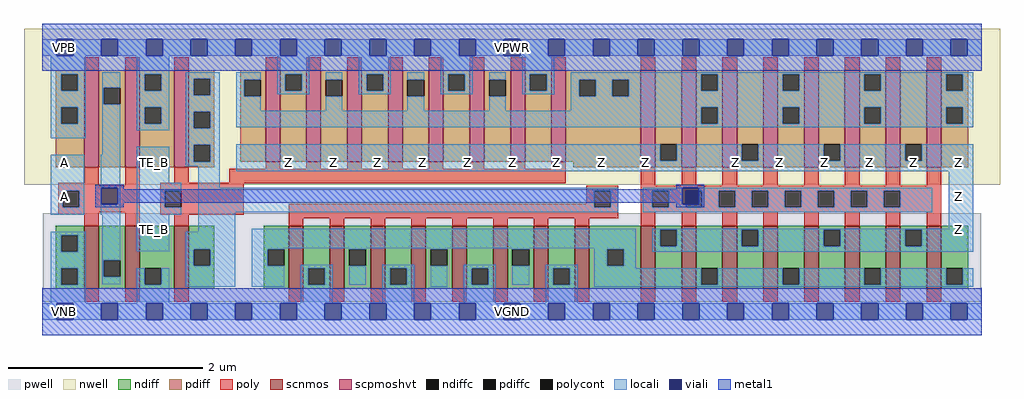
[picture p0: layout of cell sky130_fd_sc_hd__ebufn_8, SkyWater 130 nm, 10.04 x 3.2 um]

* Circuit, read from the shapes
.subckt sky130_fd_sc_hd__ebufn_8 A TE_B VGND VNB VPB VPWR Z
XM1 n1 A VGND VNB sky130_fd_pr__nfet_01v8 w=0.65 l=0.15 m=2
XM2 n2 TE_B VGND VNB sky130_fd_pr__nfet_01v8 w=0.65 l=0.15
XM3 VGND n2 n3 VNB sky130_fd_pr__nfet_01v8 w=0.65 l=0.15 m=8
XM4 Z n1 n3 VNB sky130_fd_pr__nfet_01v8 w=0.65 l=0.15 m=8
XM5 n1 A VPWR VPB sky130_fd_pr__pfet_01v8_hvt w=1 l=0.15 m=2
XM6 n2 TE_B VPWR VPB sky130_fd_pr__pfet_01v8_hvt w=1 l=0.15
XM7 VPWR TE_B n4 VPB sky130_fd_pr__pfet_01v8_hvt w=0.94 l=0.15 m=8
XM8 Z n1 n4 VPB sky130_fd_pr__pfet_01v8_hvt w=1 l=0.15 m=8
.ends

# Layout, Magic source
magic
tech sky130B
magscale 1 2
<< nwell >>
rect -38 261 1970 582
<< pwell >>
rect 1 21 1931 203
rect 29 -17 63 21
<< scnmos >>
rect 86 47 116 177
rect 170 47 200 177
rect 271 47 301 177
rect 507 47 537 177
rect 591 47 621 177
rect 675 47 705 177
rect 759 47 789 177
rect 843 47 873 177
rect 927 47 957 177
rect 1011 47 1041 177
rect 1095 47 1125 177
rect 1231 47 1261 177
rect 1315 47 1345 177
rect 1399 47 1429 177
rect 1483 47 1513 177
rect 1567 47 1597 177
rect 1651 47 1681 177
rect 1735 47 1765 177
rect 1819 47 1849 177
<< scpmoshvt >>
rect 86 297 116 497
rect 170 297 200 497
rect 271 297 301 497
rect 459 309 489 497
rect 543 309 573 497
rect 627 309 657 497
rect 711 309 741 497
rect 795 309 825 497
rect 879 309 909 497
rect 963 309 993 497
rect 1047 309 1077 497
rect 1231 297 1261 497
rect 1315 297 1345 497
rect 1399 297 1429 497
rect 1483 297 1513 497
rect 1567 297 1597 497
rect 1651 297 1681 497
rect 1735 297 1765 497
rect 1819 297 1849 497
<< ndiff >>
rect 27 157 86 177
rect 27 123 39 157
rect 73 123 86 157
rect 27 89 86 123
rect 27 55 39 89
rect 73 55 86 89
rect 27 47 86 55
rect 116 106 170 177
rect 116 72 126 106
rect 160 72 170 106
rect 116 47 170 72
rect 200 89 271 177
rect 200 55 210 89
rect 244 55 271 89
rect 200 47 271 55
rect 301 129 353 177
rect 301 95 311 129
rect 345 95 353 129
rect 301 47 353 95
rect 455 129 507 177
rect 455 95 463 129
rect 497 95 507 129
rect 455 47 507 95
rect 537 89 591 177
rect 537 55 547 89
rect 581 55 591 89
rect 537 47 591 55
rect 621 129 675 177
rect 621 95 631 129
rect 665 95 675 129
rect 621 47 675 95
rect 705 89 759 177
rect 705 55 715 89
rect 749 55 759 89
rect 705 47 759 55
rect 789 129 843 177
rect 789 95 799 129
rect 833 95 843 129
rect 789 47 843 95
rect 873 89 927 177
rect 873 55 883 89
rect 917 55 927 89
rect 873 47 927 55
rect 957 129 1011 177
rect 957 95 967 129
rect 1001 95 1011 129
rect 957 47 1011 95
rect 1041 89 1095 177
rect 1041 55 1051 89
rect 1085 55 1095 89
rect 1041 47 1095 55
rect 1125 129 1231 177
rect 1125 95 1162 129
rect 1196 95 1231 129
rect 1125 47 1231 95
rect 1261 169 1315 177
rect 1261 135 1271 169
rect 1305 135 1315 169
rect 1261 47 1315 135
rect 1345 89 1399 177
rect 1345 55 1355 89
rect 1389 55 1399 89
rect 1345 47 1399 55
rect 1429 169 1483 177
rect 1429 135 1439 169
rect 1473 135 1483 169
rect 1429 47 1483 135
rect 1513 89 1567 177
rect 1513 55 1523 89
rect 1557 55 1567 89
rect 1513 47 1567 55
rect 1597 169 1651 177
rect 1597 135 1607 169
rect 1641 135 1651 169
rect 1597 47 1651 135
rect 1681 89 1735 177
rect 1681 55 1691 89
rect 1725 55 1735 89
rect 1681 47 1735 55
rect 1765 169 1819 177
rect 1765 135 1775 169
rect 1809 135 1819 169
rect 1765 47 1819 135
rect 1849 89 1905 177
rect 1849 55 1859 89
rect 1893 55 1905 89
rect 1849 47 1905 55
<< pdiff >>
rect 27 489 86 497
rect 27 455 39 489
rect 73 455 86 489
rect 27 421 86 455
rect 27 387 39 421
rect 73 387 86 421
rect 27 297 86 387
rect 116 461 170 497
rect 116 427 126 461
rect 160 427 170 461
rect 116 297 170 427
rect 200 489 271 497
rect 200 455 210 489
rect 244 455 271 489
rect 200 421 271 455
rect 200 387 210 421
rect 244 387 271 421
rect 200 297 271 387
rect 301 479 353 497
rect 301 445 311 479
rect 345 445 353 479
rect 301 411 353 445
rect 301 377 311 411
rect 345 377 353 411
rect 301 343 353 377
rect 301 309 311 343
rect 345 309 353 343
rect 407 477 459 497
rect 407 443 415 477
rect 449 443 459 477
rect 407 309 459 443
rect 489 489 543 497
rect 489 455 499 489
rect 533 455 543 489
rect 489 309 543 455
rect 573 477 627 497
rect 573 443 583 477
rect 617 443 627 477
rect 573 309 627 443
rect 657 489 711 497
rect 657 455 667 489
rect 701 455 711 489
rect 657 309 711 455
rect 741 477 795 497
rect 741 443 751 477
rect 785 443 795 477
rect 741 309 795 443
rect 825 489 879 497
rect 825 455 835 489
rect 869 455 879 489
rect 825 309 879 455
rect 909 477 963 497
rect 909 443 919 477
rect 953 443 963 477
rect 909 309 963 443
rect 993 489 1047 497
rect 993 455 1003 489
rect 1037 455 1047 489
rect 993 309 1047 455
rect 1077 477 1231 497
rect 1077 443 1104 477
rect 1138 443 1172 477
rect 1206 443 1231 477
rect 1077 309 1231 443
rect 301 297 353 309
rect 1092 297 1231 309
rect 1261 345 1315 497
rect 1261 311 1271 345
rect 1305 311 1315 345
rect 1261 297 1315 311
rect 1345 489 1399 497
rect 1345 455 1355 489
rect 1389 455 1399 489
rect 1345 421 1399 455
rect 1345 387 1355 421
rect 1389 387 1399 421
rect 1345 297 1399 387
rect 1429 345 1483 497
rect 1429 311 1439 345
rect 1473 311 1483 345
rect 1429 297 1483 311
rect 1513 489 1567 497
rect 1513 455 1523 489
rect 1557 455 1567 489
rect 1513 421 1567 455
rect 1513 387 1523 421
rect 1557 387 1567 421
rect 1513 297 1567 387
rect 1597 345 1651 497
rect 1597 311 1607 345
rect 1641 311 1651 345
rect 1597 297 1651 311
rect 1681 489 1735 497
rect 1681 455 1691 489
rect 1725 455 1735 489
rect 1681 421 1735 455
rect 1681 387 1691 421
rect 1725 387 1735 421
rect 1681 297 1735 387
rect 1765 345 1819 497
rect 1765 311 1775 345
rect 1809 311 1819 345
rect 1765 297 1819 311
rect 1849 489 1905 497
rect 1849 455 1859 489
rect 1893 455 1905 489
rect 1849 421 1905 455
rect 1849 387 1859 421
rect 1893 387 1905 421
rect 1849 297 1905 387
<< ndiffc >>
rect 39 123 73 157
rect 39 55 73 89
rect 126 72 160 106
rect 210 55 244 89
rect 311 95 345 129
rect 463 95 497 129
rect 547 55 581 89
rect 631 95 665 129
rect 715 55 749 89
rect 799 95 833 129
rect 883 55 917 89
rect 967 95 1001 129
rect 1051 55 1085 89
rect 1162 95 1196 129
rect 1271 135 1305 169
rect 1355 55 1389 89
rect 1439 135 1473 169
rect 1523 55 1557 89
rect 1607 135 1641 169
rect 1691 55 1725 89
rect 1775 135 1809 169
rect 1859 55 1893 89
<< pdiffc >>
rect 39 455 73 489
rect 39 387 73 421
rect 126 427 160 461
rect 210 455 244 489
rect 210 387 244 421
rect 311 445 345 479
rect 311 377 345 411
rect 311 309 345 343
rect 415 443 449 477
rect 499 455 533 489
rect 583 443 617 477
rect 667 455 701 489
rect 751 443 785 477
rect 835 455 869 489
rect 919 443 953 477
rect 1003 455 1037 489
rect 1104 443 1138 477
rect 1172 443 1206 477
rect 1271 311 1305 345
rect 1355 455 1389 489
rect 1355 387 1389 421
rect 1439 311 1473 345
rect 1523 455 1557 489
rect 1523 387 1557 421
rect 1607 311 1641 345
rect 1691 455 1725 489
rect 1691 387 1725 421
rect 1775 311 1809 345
rect 1859 455 1893 489
rect 1859 387 1893 421
<< poly >>
rect 86 497 116 523
rect 170 497 200 523
rect 271 497 301 523
rect 459 497 489 523
rect 543 497 573 523
rect 627 497 657 523
rect 711 497 741 523
rect 795 497 825 523
rect 879 497 909 523
rect 963 497 993 523
rect 1047 497 1077 523
rect 1231 497 1261 523
rect 1315 497 1345 523
rect 1399 497 1429 523
rect 1483 497 1513 523
rect 1567 497 1597 523
rect 1651 497 1681 523
rect 1735 497 1765 523
rect 1819 497 1849 523
rect 86 265 116 297
rect 32 259 116 265
rect 170 259 200 297
rect 271 265 301 297
rect 459 294 489 309
rect 543 294 573 309
rect 627 294 657 309
rect 711 294 741 309
rect 795 294 825 309
rect 879 294 909 309
rect 963 294 993 309
rect 1047 294 1077 309
rect 384 265 1077 294
rect 32 249 200 259
rect 32 215 42 249
rect 76 215 200 249
rect 32 205 200 215
rect 32 199 116 205
rect 86 177 116 199
rect 170 177 200 205
rect 242 264 1077 265
rect 242 249 414 264
rect 1231 259 1261 297
rect 1315 259 1345 297
rect 1399 259 1429 297
rect 1483 259 1513 297
rect 1567 259 1597 297
rect 1651 259 1681 297
rect 1735 259 1765 297
rect 1819 259 1849 297
rect 242 215 252 249
rect 286 215 414 249
rect 1119 249 1185 259
rect 1119 222 1135 249
rect 242 199 414 215
rect 507 215 1135 222
rect 1169 215 1185 249
rect 271 177 301 199
rect 507 192 1185 215
rect 1231 249 1849 259
rect 1231 215 1255 249
rect 1289 215 1323 249
rect 1357 215 1391 249
rect 1425 215 1459 249
rect 1493 215 1527 249
rect 1561 215 1595 249
rect 1629 215 1663 249
rect 1697 215 1731 249
rect 1765 215 1849 249
rect 1231 205 1849 215
rect 507 177 537 192
rect 591 177 621 192
rect 675 177 705 192
rect 759 177 789 192
rect 843 177 873 192
rect 927 177 957 192
rect 1011 177 1041 192
rect 1095 177 1125 192
rect 1231 177 1261 205
rect 1315 177 1345 205
rect 1399 177 1429 205
rect 1483 177 1513 205
rect 1567 177 1597 205
rect 1651 177 1681 205
rect 1735 177 1765 205
rect 1819 177 1849 205
rect 86 21 116 47
rect 170 21 200 47
rect 271 21 301 47
rect 507 21 537 47
rect 591 21 621 47
rect 675 21 705 47
rect 759 21 789 47
rect 843 21 873 47
rect 927 21 957 47
rect 1011 21 1041 47
rect 1095 21 1125 47
rect 1231 21 1261 47
rect 1315 21 1345 47
rect 1399 21 1429 47
rect 1483 21 1513 47
rect 1567 21 1597 47
rect 1651 21 1681 47
rect 1735 21 1765 47
rect 1819 21 1849 47
<< polycont >>
rect 42 215 76 249
rect 252 215 286 249
rect 1135 215 1169 249
rect 1255 215 1289 249
rect 1323 215 1357 249
rect 1391 215 1425 249
rect 1459 215 1493 249
rect 1527 215 1561 249
rect 1595 215 1629 249
rect 1663 215 1697 249
rect 1731 215 1765 249
<< locali >>
rect 0 527 29 561
rect 63 527 121 561
rect 155 527 213 561
rect 247 527 305 561
rect 339 527 397 561
rect 431 527 489 561
rect 523 527 581 561
rect 615 527 673 561
rect 707 527 765 561
rect 799 527 857 561
rect 891 527 949 561
rect 983 527 1041 561
rect 1075 527 1133 561
rect 1167 527 1225 561
rect 1259 527 1317 561
rect 1351 527 1409 561
rect 1443 527 1501 561
rect 1535 527 1593 561
rect 1627 527 1685 561
rect 1719 527 1777 561
rect 1811 527 1869 561
rect 1903 527 1932 561
rect 17 489 89 527
rect 17 455 39 489
rect 73 455 89 489
rect 17 421 89 455
rect 17 387 39 421
rect 73 387 89 421
rect 17 357 89 387
rect 123 461 160 493
rect 123 427 126 461
rect 123 323 160 427
rect 194 489 261 527
rect 194 455 210 489
rect 244 455 261 489
rect 194 421 261 455
rect 194 387 210 421
rect 244 387 261 421
rect 194 373 261 387
rect 295 479 365 493
rect 295 445 311 479
rect 345 445 365 479
rect 295 411 365 445
rect 295 377 311 411
rect 345 377 365 411
rect 399 477 449 493
rect 399 443 415 477
rect 483 489 549 527
rect 483 455 499 489
rect 533 455 549 489
rect 483 447 549 455
rect 583 477 617 493
rect 399 413 449 443
rect 651 489 717 527
rect 651 455 667 489
rect 701 455 717 489
rect 651 447 717 455
rect 751 477 785 493
rect 583 413 617 443
rect 819 489 885 527
rect 819 455 835 489
rect 869 455 885 489
rect 819 447 885 455
rect 919 477 953 493
rect 751 413 785 443
rect 987 489 1053 527
rect 987 455 1003 489
rect 1037 455 1053 489
rect 987 447 1053 455
rect 1087 489 1915 493
rect 1087 477 1355 489
rect 919 413 953 443
rect 1087 443 1104 477
rect 1138 443 1172 477
rect 1206 455 1355 477
rect 1389 455 1523 489
rect 1557 455 1691 489
rect 1725 455 1859 489
rect 1893 455 1915 489
rect 1206 443 1915 455
rect 1087 421 1915 443
rect 1087 413 1355 421
rect 399 387 1355 413
rect 1389 387 1523 421
rect 1557 387 1691 421
rect 1725 387 1859 421
rect 1893 387 1915 421
rect 399 379 1915 387
rect 295 343 365 377
rect 17 249 86 323
rect 17 215 42 249
rect 76 215 86 249
rect 17 199 86 215
rect 120 255 160 323
rect 120 221 121 255
rect 155 221 160 255
rect 120 199 160 221
rect 17 157 89 165
rect 17 123 39 157
rect 73 123 89 157
rect 17 89 89 123
rect 17 55 39 89
rect 73 55 89 89
rect 123 106 160 199
rect 194 265 261 339
rect 295 309 311 343
rect 345 309 365 343
rect 295 299 365 309
rect 194 249 286 265
rect 194 215 252 249
rect 194 199 286 215
rect 320 255 365 299
rect 399 311 1271 345
rect 1305 311 1439 345
rect 1473 311 1607 345
rect 1641 311 1775 345
rect 1809 311 1915 345
rect 399 289 1915 311
rect 320 249 1185 255
rect 320 215 1135 249
rect 1169 215 1185 249
rect 320 205 1185 215
rect 1235 249 1316 255
rect 1350 249 1831 255
rect 1235 215 1255 249
rect 1289 221 1316 249
rect 1289 215 1323 221
rect 1357 215 1391 249
rect 1425 215 1459 249
rect 1493 215 1527 249
rect 1561 215 1595 249
rect 1629 215 1663 249
rect 1697 215 1731 249
rect 1765 215 1831 249
rect 1235 205 1831 215
rect 194 124 261 199
rect 320 165 397 205
rect 1865 171 1915 289
rect 295 129 397 165
rect 123 72 126 106
rect 295 95 311 129
rect 345 95 397 129
rect 123 56 160 72
rect 17 17 89 55
rect 194 55 210 89
rect 244 55 261 89
rect 194 17 261 55
rect 295 51 397 95
rect 431 131 1221 171
rect 431 129 497 131
rect 431 95 463 129
rect 631 129 665 131
rect 431 51 497 95
rect 531 89 597 97
rect 531 55 547 89
rect 581 55 597 89
rect 799 129 833 131
rect 631 55 665 95
rect 699 89 765 97
rect 699 55 715 89
rect 749 55 765 89
rect 531 17 597 55
rect 699 17 765 55
rect 967 129 1001 131
rect 799 51 833 95
rect 867 89 933 97
rect 867 55 883 89
rect 917 55 933 89
rect 1135 129 1221 131
rect 967 55 1001 95
rect 1035 89 1101 97
rect 1035 55 1051 89
rect 1085 55 1101 89
rect 867 17 933 55
rect 1035 17 1101 55
rect 1135 95 1162 129
rect 1196 95 1221 129
rect 1255 169 1915 171
rect 1255 135 1271 169
rect 1305 135 1439 169
rect 1473 135 1607 169
rect 1641 135 1775 169
rect 1809 135 1915 169
rect 1255 123 1915 135
rect 1135 89 1221 95
rect 1135 55 1355 89
rect 1389 55 1523 89
rect 1557 55 1691 89
rect 1725 55 1859 89
rect 1893 55 1915 89
rect 1135 51 1915 55
rect 0 -17 29 17
rect 63 -17 121 17
rect 155 -17 213 17
rect 247 -17 305 17
rect 339 -17 397 17
rect 431 -17 489 17
rect 523 -17 581 17
rect 615 -17 673 17
rect 707 -17 765 17
rect 799 -17 857 17
rect 891 -17 949 17
rect 983 -17 1041 17
rect 1075 -17 1133 17
rect 1167 -17 1225 17
rect 1259 -17 1317 17
rect 1351 -17 1409 17
rect 1443 -17 1501 17
rect 1535 -17 1593 17
rect 1627 -17 1685 17
rect 1719 -17 1777 17
rect 1811 -17 1869 17
rect 1903 -17 1932 17
<< viali >>
rect 29 527 63 561
rect 121 527 155 561
rect 213 527 247 561
rect 305 527 339 561
rect 397 527 431 561
rect 489 527 523 561
rect 581 527 615 561
rect 673 527 707 561
rect 765 527 799 561
rect 857 527 891 561
rect 949 527 983 561
rect 1041 527 1075 561
rect 1133 527 1167 561
rect 1225 527 1259 561
rect 1317 527 1351 561
rect 1409 527 1443 561
rect 1501 527 1535 561
rect 1593 527 1627 561
rect 1685 527 1719 561
rect 1777 527 1811 561
rect 1869 527 1903 561
rect 121 221 155 255
rect 1316 249 1350 255
rect 1316 221 1323 249
rect 1323 221 1350 249
rect 29 -17 63 17
rect 121 -17 155 17
rect 213 -17 247 17
rect 305 -17 339 17
rect 397 -17 431 17
rect 489 -17 523 17
rect 581 -17 615 17
rect 673 -17 707 17
rect 765 -17 799 17
rect 857 -17 891 17
rect 949 -17 983 17
rect 1041 -17 1075 17
rect 1133 -17 1167 17
rect 1225 -17 1259 17
rect 1317 -17 1351 17
rect 1409 -17 1443 17
rect 1501 -17 1535 17
rect 1593 -17 1627 17
rect 1685 -17 1719 17
rect 1777 -17 1811 17
rect 1869 -17 1903 17
<< metal1 >>
rect 0 561 1932 592
rect 0 527 29 561
rect 63 527 121 561
rect 155 527 213 561
rect 247 527 305 561
rect 339 527 397 561
rect 431 527 489 561
rect 523 527 581 561
rect 615 527 673 561
rect 707 527 765 561
rect 799 527 857 561
rect 891 527 949 561
rect 983 527 1041 561
rect 1075 527 1133 561
rect 1167 527 1225 561
rect 1259 527 1317 561
rect 1351 527 1409 561
rect 1443 527 1501 561
rect 1535 527 1593 561
rect 1627 527 1685 561
rect 1719 527 1777 561
rect 1811 527 1869 561
rect 1903 527 1932 561
rect 0 496 1932 527
rect 109 255 167 261
rect 109 221 121 255
rect 155 252 167 255
rect 1304 255 1362 261
rect 1304 252 1316 255
rect 155 224 1316 252
rect 155 221 167 224
rect 109 215 167 221
rect 1304 221 1316 224
rect 1350 221 1362 255
rect 1304 215 1362 221
rect 0 17 1932 48
rect 0 -17 29 17
rect 63 -17 121 17
rect 155 -17 213 17
rect 247 -17 305 17
rect 339 -17 397 17
rect 431 -17 489 17
rect 523 -17 581 17
rect 615 -17 673 17
rect 707 -17 765 17
rect 799 -17 857 17
rect 891 -17 949 17
rect 983 -17 1041 17
rect 1075 -17 1133 17
rect 1167 -17 1225 17
rect 1259 -17 1317 17
rect 1351 -17 1409 17
rect 1443 -17 1501 17
rect 1535 -17 1593 17
rect 1627 -17 1685 17
rect 1719 -17 1777 17
rect 1811 -17 1869 17
rect 1903 -17 1932 17
rect 0 -48 1932 -17
<< labels >>
flabel locali s 29 221 63 255 0 FreeSans 200 0 0 0 A
port 1 nsew signal input
flabel locali s 29 289 63 323 0 FreeSans 200 0 0 0 A
port 1 nsew signal input
flabel locali s 1868 153 1902 187 0 FreeSans 200 0 0 0 Z
port 7 nsew signal output
flabel locali s 1868 221 1902 255 0 FreeSans 200 0 0 0 Z
port 7 nsew signal output
flabel locali s 857 289 891 323 0 FreeSans 200 0 0 0 Z
port 7 nsew signal output
flabel locali s 949 289 983 323 0 FreeSans 200 0 0 0 Z
port 7 nsew signal output
flabel locali s 1041 289 1075 323 0 FreeSans 200 0 0 0 Z
port 7 nsew signal output
flabel locali s 1133 289 1167 323 0 FreeSans 200 0 0 0 Z
port 7 nsew signal output
flabel locali s 489 289 523 323 0 FreeSans 200 0 0 0 Z
port 7 nsew signal output
flabel locali s 581 289 615 323 0 FreeSans 200 0 0 0 Z
port 7 nsew signal output
flabel locali s 673 289 707 323 0 FreeSans 200 0 0 0 Z
port 7 nsew signal output
flabel locali s 765 289 799 323 0 FreeSans 200 0 0 0 Z
port 7 nsew signal output
flabel locali s 213 153 247 187 0 FreeSans 200 0 0 0 TE_B
port 2 nsew signal input
flabel locali s 1224 289 1258 323 0 FreeSans 200 0 0 0 Z
port 7 nsew signal output
flabel locali s 1408 289 1442 323 0 FreeSans 200 0 0 0 Z
port 7 nsew signal output
flabel locali s 213 289 247 323 0 FreeSans 200 0 0 0 TE_B
port 2 nsew signal input
flabel locali s 1868 289 1902 323 0 FreeSans 200 0 0 0 Z
port 7 nsew signal output
flabel locali s 1776 289 1810 323 0 FreeSans 200 0 0 0 Z
port 7 nsew signal output
flabel locali s 1500 289 1534 323 0 FreeSans 200 0 0 0 Z
port 7 nsew signal output
flabel locali s 1592 289 1626 323 0 FreeSans 200 0 0 0 Z
port 7 nsew signal output
flabel locali s 1684 289 1718 323 0 FreeSans 200 0 0 0 Z
port 7 nsew signal output
flabel pwell s 29 -17 63 17 0 FreeSans 200 0 0 0 VNB
port 4 nsew ground bidirectional
flabel nwell s 29 527 63 561 0 FreeSans 200 0 0 0 VPB
port 5 nsew power bidirectional
flabel metal1 s 29 -17 63 17 0 FreeSans 200 0 0 0 VGND
port 3 nsew ground bidirectional abutment
flabel metal1 s 29 527 63 561 0 FreeSans 200 0 0 0 VPWR
port 6 nsew power bidirectional abutment
rlabel comment s 0 0 0 0 4 ebufn_8
rlabel metal1 s 0 -48 1932 48 1 VGND
port 3 nsew ground bidirectional abutment
rlabel metal1 s 0 496 1932 592 1 VPWR
port 6 nsew power bidirectional abutment
<< properties >>
string FIXED_BBOX 0 0 1932 544
string GDS_END 2978590
string GDS_FILE $PDKPATH/libs.ref/sky130_fd_sc_hd/gds/sky130_fd_sc_hd.gds
string GDS_START 2964678
string LEFclass CORE
string LEFsite unithd
string LEFsymmetry X Y R90
<< end >>
